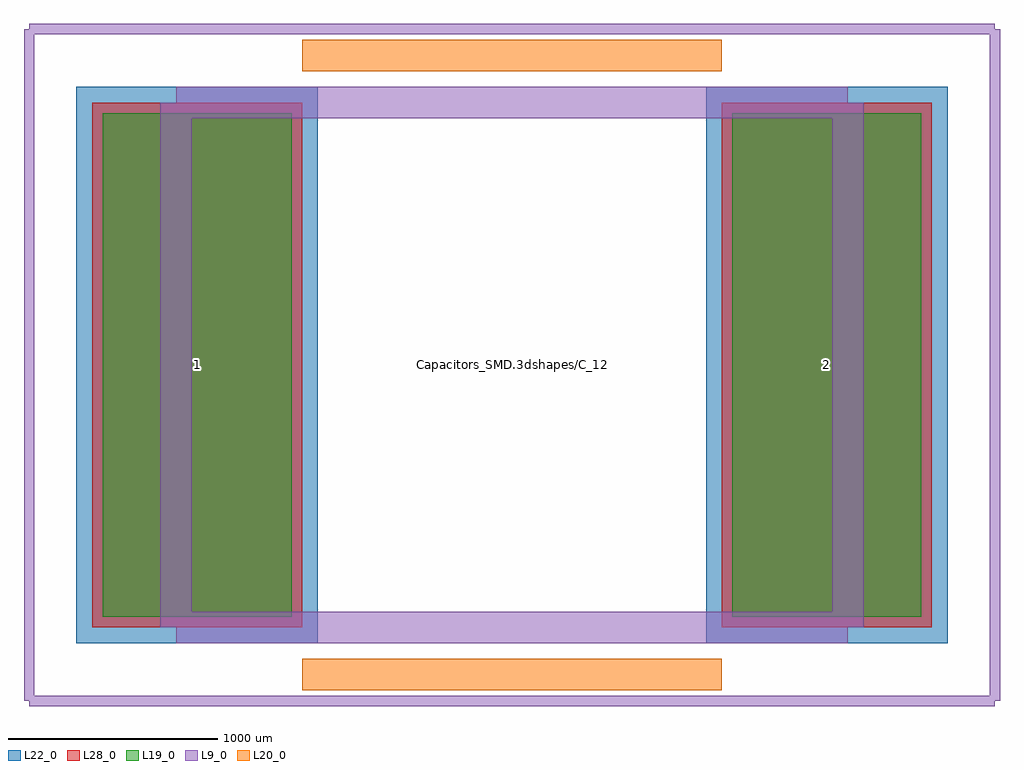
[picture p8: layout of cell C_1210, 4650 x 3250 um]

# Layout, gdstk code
import gdstk
lib = gdstk.Library(unit=1e-6, precision=1e-09)
def R(c, l, rs):  # rectangles x0, y0, x1, y1
    for r in rs: c.add(gdstk.rectangle(r[:2], r[2:], *l))
L9_0 = (9, 0)
L19_0 = (19, 0)
L20_0 = (20, 0)
L22_0 = (22, 0)
L28_0 = (28, 0)

c_1210 = lib.new_cell('C_1210')
R(c_1210, L19_0, [(-1950,-1200,-1050,1200), (1050,-1200,1950,1200)])
R(c_1210, L22_0, [(-2075,-1325,-925,1325), (925,-1325,2075,1325)])
R(c_1210, L28_0, [(-2000,-1250,-1000,1250), (1000,-1250,2000,1250)])
c_1210.add(gdstk.FlexPath([(-1000,-1475),(1000,-1475)], 149.998, ends="flush", simple_path=True, layer=20, datatype=0))  # L20_0
c_1210.add(gdstk.FlexPath([(1000,1475),(-1000,1475)], 149.998, ends="flush", simple_path=True, layer=20, datatype=0))  # L20_0
c_1210.add(gdstk.FlexPath([(2300,1600),(2300,-1600)], 50, ends="flush", simple_path=True, layer=9, datatype=0))  # L9_0
c_1210.add(gdstk.FlexPath([(-2300,1600),(-2300,-1600)], 50, ends="flush", simple_path=True, layer=9, datatype=0))  # L9_0
c_1210.add(gdstk.FlexPath([(-2300,-1600),(2300,-1600)], 50, ends="flush", simple_path=True, layer=9, datatype=0))  # L9_0
c_1210.add(gdstk.FlexPath([(-2300,1600),(2300,1600)], 50, ends="flush", simple_path=True, layer=9, datatype=0))  # L9_0
c_1210.add(gdstk.FlexPath([(-1600,1250),(1600,1250)], 149.998, ends="flush", simple_path=True, layer=9, datatype=0))  # L9_0
c_1210.add(gdstk.FlexPath([(1600,1250),(1600,-1250)], 149.998, ends="flush", simple_path=True, layer=9, datatype=0))  # L9_0
c_1210.add(gdstk.FlexPath([(1600,-1250),(-1600,-1250)], 149.998, ends="flush", simple_path=True, layer=9, datatype=0))  # L9_0
c_1210.add(gdstk.FlexPath([(-1600,-1250),(-1600,1250)], 149.998, ends="flush", simple_path=True, layer=9, datatype=0))  # L9_0
c_1210.add(gdstk.Label('Capacitors_SMD.3dshapes/C_1210.wrl', (0,0), layer=12, texttype=0))
c_1210.add(gdstk.Label('2', (1500,0), layer=28, texttype=0))
c_1210.add(gdstk.Label('1', (-1500,0), layer=28, texttype=0))
c_1210.add(gdstk.Label('type', (0,-2700), layer=9, texttype=0))
c_1210.add(gdstk.Label('devicename', (0,2700), layer=9, texttype=0))

lib.write_gds('C_1210.gds')
